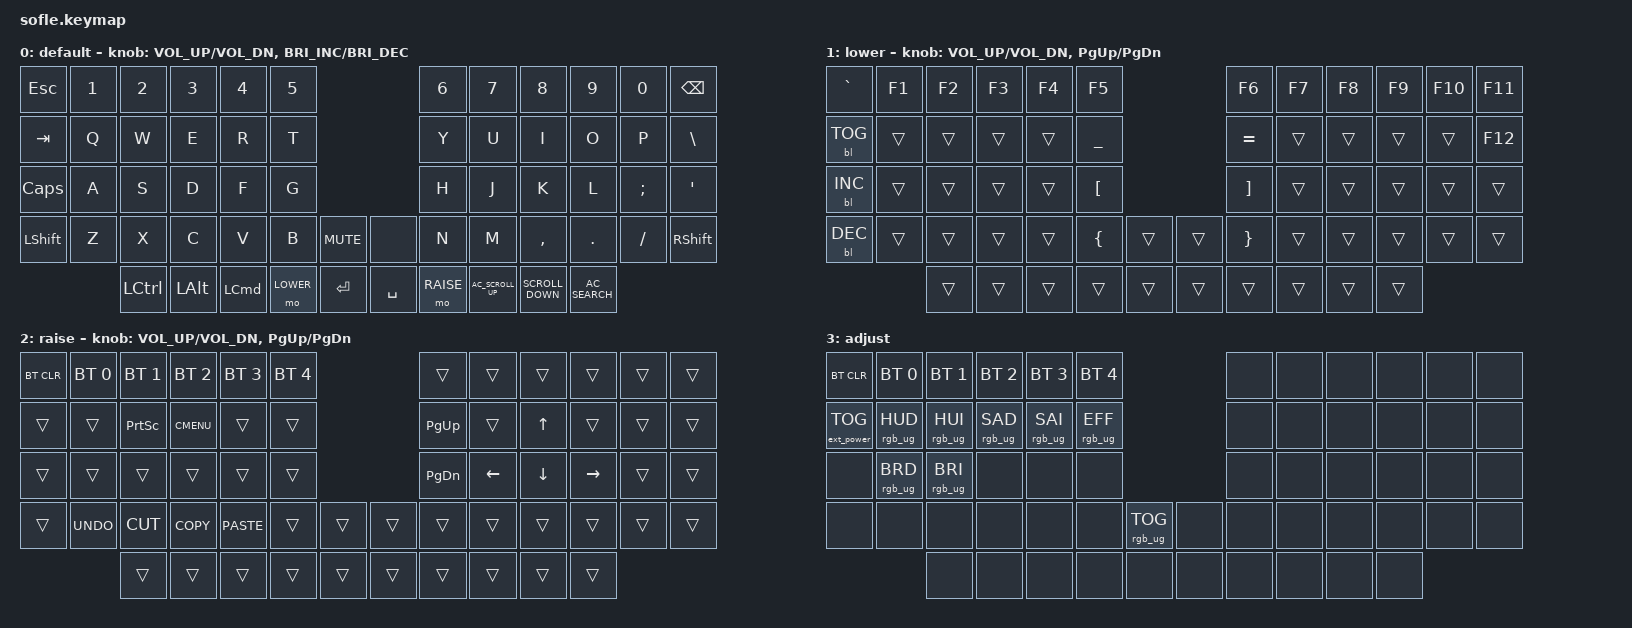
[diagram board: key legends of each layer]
/*
 * Copyright (c) 2020 The ZMK Contributors
 *
 * SPDX-License-Identifier: MIT
 */

#include <behaviors.dtsi>
#include <dt-bindings/zmk/backlight.h>
#include <dt-bindings/zmk/bt.h>
#include <dt-bindings/zmk/ext_power.h>
#include <dt-bindings/zmk/keys.h>
#include <dt-bindings/zmk/rgb.h>

#define BASE 0
#define LOWER 1
#define RAISE 2
#define ADJUST 3

/ {
    // Activate ADJUST layer by pressing raise and lower

    conditional_layers {
        compatible = "zmk,conditional-layers";

        adjust_layer {
            if-layers = <LOWER RAISE>;
            then-layer = <ADJUST>;
        };
    };

    keymap {
        compatible = "zmk,keymap";

        default_layer {
            display-name = "default";

            // ------------------------------------------------------------------------------------------------------------
            // |   `   |  1  |  2  |  3   |  4   |  5   |                   |  6   |  7    |  8    |  9   |   0   |       |
            // |  ESC  |  Q  |  W  |  E   |  R   |  T   |                   |  Y   |  U    |  I    |  O   |   P   | BKSPC |
            // |  TAB  |  A  |  S  |  D   |  F   |  G   |                   |  H   |  J    |  K    |  L   |   ;   |   '   |
            // | SHIFT |  Z  |  X  |  C   |  V   |  B   |  MUTE  |  |       |  N   |  M    |  ,    |  .   |   /   | SHIFT |
            //               | GUI | ALT  | CTRL | LOWER|  ENTER |  | SPACE | RAISE| CTRL  | ALT   | GUI  |

            bindings = <
&kp ESCAPE  &kp N1  &kp N2     &kp N3    &kp N4            &kp N5                              &kp N6     &kp N7              &kp N8             &kp N9           &kp N0    &kp BSPC
&kp TAB     &kp Q   &kp W      &kp E     &kp R             &kp T                               &kp Y      &kp U               &kp I              &kp O            &kp P     &kp BACKSLASH
&kp CAPS    &kp A   &kp S      &kp D     &kp F             &kp G                               &kp H      &kp J               &kp K              &kp L            &kp SEMI  &kp SQT
&kp LSHFT   &kp Z   &kp X      &kp C     &kp V             &kp B      &kp C_MUTE    &none      &kp N      &kp M               &kp COMMA          &kp DOT          &kp FSLH  &kp RSHFT
                    &kp LCTRL  &kp LALT  &kp LEFT_COMMAND  &mo LOWER  &kp RET       &kp SPACE  &mo RAISE  &kp C_AC_SCROLL_UP  &kp K_SCROLL_DOWN  &kp C_AC_SEARCH
            >;

            sensor-bindings =
                <&inc_dec_kp C_VOL_UP C_VOL_DN>,
                <&inc_dec_kp C_BRIGHTNESS_INC C_BRIGHTNESS_DEC>;
        };

        lower_layer {
            display-name = "lower";

            // TODO: Some binds are waiting for shifted keycode support.
            // ------------------------------------------------------------------------------------------------------------
            // |       |  F1 |  F2 |  F3  |  F4  |  F5  |                   |  F6  |  F7   |  F8   |  F9  |  F10  |  F11  |
            // |   `   |  1  |  2  |  3   |  4   |  5   |                   |  6   |  7    |  8    |  9   |   0   |  F12  |
            // |       |  !  |  @  |  #   |  $   |  %   |                   |  ^   |  &    |  *    |  (   |   )   |   |   |
            // |       |  =  |  -  |  +   |  {   |  }   |        |  |       |  [   |  ]    |  ;    |  :   |   \   |       |
            //               |     |      |      |      |        |  |       |      |       |       |      |

            bindings = <
&kp GRAVE   &kp F1  &kp F2  &kp F3  &kp F4  &kp F5                              &kp F6             &kp F7  &kp F8  &kp F9  &kp F10  &kp F11
&bl BL_TOG  &trans  &trans  &trans  &trans  &kp UNDERSCORE                      &kp EQUAL          &trans  &trans  &trans  &trans   &kp F12
&bl BL_INC  &trans  &trans  &trans  &trans  &kp LEFT_BRACKET                    &kp RIGHT_BRACKET  &trans  &trans  &trans  &trans   &trans
&bl BL_DEC  &trans  &trans  &trans  &trans  &kp LEFT_BRACE    &trans    &trans  &kp RIGHT_BRACE    &trans  &trans  &trans  &trans   &trans
                    &trans  &trans  &trans  &trans            &trans    &trans  &trans             &trans  &trans  &trans
            >;

            sensor-bindings = <&inc_dec_kp C_VOL_UP C_VOL_DN &inc_dec_kp PG_UP PG_DN>;
        };

        raise_layer {
            display-name = "raise";

            // ------------------------------------------------------------------------------------------------------------
            // | BTCLR | BT1  | BT2  |  BT3  |  BT4  |  BT5 |                |      |      |       |      |       |       |
            // |       | INS  | PSCR | GUI   |       |      |                | PGUP |      |   ^   |      |       |       |
            // |       | ALT  | CTRL | SHIFT |       | CAPS |                | PGDN |   <- |   v   |  ->  |  DEL  | BKSPC |
            // |       | UNDO | CUT  | COPY  | PASTE |      |      |  |      |      |      |       |      |       |       |
            //                |      |       |       |      |      |  |      |      |      |       |      |

            bindings = <
&bt BT_CLR  &bt BT_SEL 0  &bt BT_SEL 1  &bt BT_SEL 2  &bt BT_SEL 3  &bt BT_SEL 4                    &trans     &trans    &trans    &trans     &trans  &trans
&trans      &trans        &kp PSCRN     &kp K_CMENU   &trans        &trans                          &kp PG_UP  &trans    &kp UP    &trans     &trans  &trans
&trans      &trans        &trans        &trans        &trans        &trans                          &kp PG_DN  &kp LEFT  &kp DOWN  &kp RIGHT  &trans  &trans
&trans      &kp K_UNDO    &kp K_CUT     &kp K_COPY    &kp K_PASTE   &trans        &trans    &trans  &trans     &trans    &trans    &trans     &trans  &trans
                          &trans        &trans        &trans        &trans        &trans    &trans  &trans     &trans    &trans    &trans
            >;

            sensor-bindings = <&inc_dec_kp C_VOL_UP C_VOL_DN &inc_dec_kp PG_UP PG_DN>;
        };

        adjust_layer {
            // ----------------------------------------------------------------------------------------------------------------------------
            // | BTCLR  |  BT1    |  BT2    |   BT3   |   BT4   |   BT5   |                  |      |      |       |      |       |       |
            // | EXTPWR | RGB_HUD | RGB_HUI | RGB_SAD | RGB_SAI | RGB_EFF |                  |      |      |       |      |       |       |
            // |        | RGB_BRD | RGB_BRI |         |         |         |                  |      |      |       |      |       |       |
            // |        |         |         |         |         |         | RGB_TOG | |      |      |      |       |      |       |       |
            //                    |         |         |         |         |         | |      |      |      |       |      |

            display-name = "adjust";
            bindings = <
&bt BT_CLR         &bt BT_SEL 0     &bt BT_SEL 1     &bt BT_SEL 2     &bt BT_SEL 3     &bt BT_SEL 4                               &none  &none  &none  &none  &none  &none
&ext_power EP_TOG  &rgb_ug RGB_HUD  &rgb_ug RGB_HUI  &rgb_ug RGB_SAD  &rgb_ug RGB_SAI  &rgb_ug RGB_EFF                            &none  &none  &none  &none  &none  &none
&none              &rgb_ug RGB_BRD  &rgb_ug RGB_BRI  &none            &none            &none                                      &none  &none  &none  &none  &none  &none
&none              &none            &none            &none            &none            &none            &rgb_ug RGB_TOG    &none  &none  &none  &none  &none  &none  &none
                                    &none            &none            &none            &none            &none              &none  &none  &none  &none  &none
            >;
        };
    };
};
